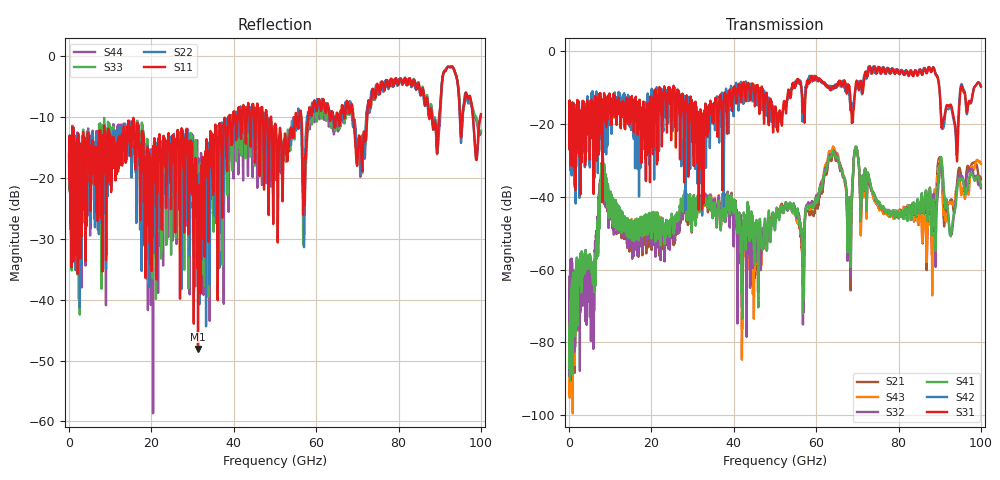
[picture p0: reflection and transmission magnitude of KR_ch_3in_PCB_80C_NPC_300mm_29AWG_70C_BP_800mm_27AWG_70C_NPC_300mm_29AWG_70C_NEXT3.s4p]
# GHz S RI R 45
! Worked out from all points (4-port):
!   4000 points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, 25 MHz to 100 GHz, reference 45 ohm
!   strongest paths, dB at 25 MHz, 25.02 GHz, 50.02 GHz, 75.03 GHz, 100 GHz:
!     S31: -20.0, -15.0, -15.7, -5.0, -9.6
!     S42: -20.0, -17.9, -18.0, -4.4, -9.7
!     S41: -87.0, -46.1, -49.1, -41.7, -37.0
!     S32: -89.0, -46.8, -46.9, -41.8, -37.6
!     S43: -89.5, -47.4, -46.0, -42.0, -30.9
!     S21: -94.1, -49.7, -47.2, -41.9, -35.2
!   lowest |S11| = -48.1 dB at 31.32 GHz (marker M1), VSWR 1.01, Z = 44.6 - j0.00134 ohm
!   |S11| at or under -10 dB: start of sweep to 38.73 GHz; 49.08 GHz to 54.98 GHz (5.895 GHz wide, 11.3 % of centre); 69.01 GHz to 72.38 GHz (3.365 GHz wide, 4.76 % of centre) (the widest 3 of 25)
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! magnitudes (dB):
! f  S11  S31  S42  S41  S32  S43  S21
! 25 MHz  -16.0  -20.0  -20.0  -87.0  -89.0  -89.5  -94.1
! 5.9 GHz  -14.7  -20.1  -18.5  -63.8  -73.7  -78.4  -75.2
! 8.225 GHz  -14.7  -14.0  -22.2  -29.6  -29.8  -29.3  -30.1
! 31.32 GHz  -48.1  -21.3  -21.7  -42.6  -42.3  -41.8  -42.1
! 56.67 GHz  -16.7  -14.7  -19.3  -59.2  -58.3  -57.8  -57.2
! 63.92 GHz  -9.3  -9.6  -10.4  -27.8  -28.0  -26.9  -28.4
! 100 GHz  -9.5  -9.6  -9.7  -37.0  -37.6  -30.9  -35.2
